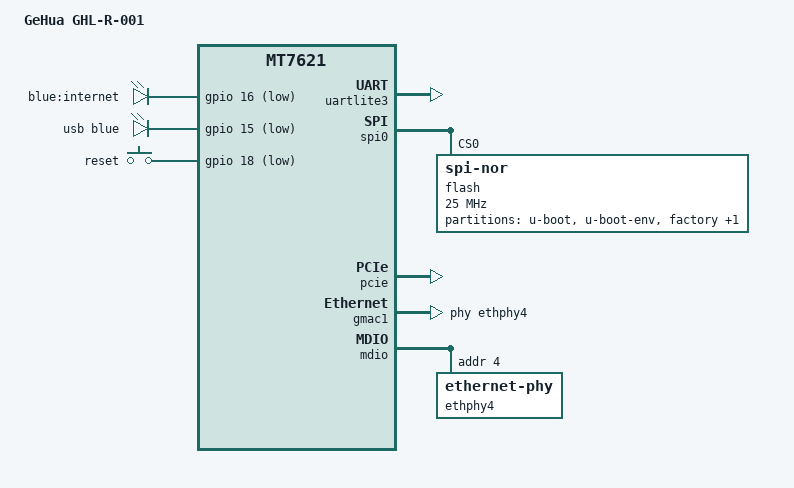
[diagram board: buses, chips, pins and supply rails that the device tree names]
// SPDX-License-Identifier: GPL-2.0-or-later OR MIT

#include "mt7621.dtsi"

#include <dt-bindings/gpio/gpio.h>
#include <dt-bindings/input/input.h>
#include <dt-bindings/leds/common.h>

/ {
	compatible = "gehua,ghl-r-001", "mediatek,mt7621-soc";
	model = "GeHua GHL-R-001";

	leds {
		compatible = "gpio-leds";

		internet {
			label = "blue:internet";
			gpios = <&gpio 16 GPIO_ACTIVE_LOW>;
		};

		usb {
			function = LED_FUNCTION_USB;
			color = <LED_COLOR_ID_BLUE>;
			gpios = <&gpio 15 GPIO_ACTIVE_LOW>;
			trigger-sources = <&xhci_ehci_port1>, <&ehci_port2>;
			linux,default-trigger = "usbport";
		};
	};

	keys {
		compatible = "gpio-keys";

		reset {
			label = "reset";
			gpios = <&gpio 18 GPIO_ACTIVE_LOW>;
			linux,code = <KEY_RESTART>;
		};
	};
};

&uartlite3 {
	status = "okay";
};

&spi0 {
	status = "okay";

	flash@0 {
		compatible = "jedec,spi-nor";
		reg = <0>;
		spi-max-frequency = <25000000>;
		broken-flash-reset;
		m25p,fast-read;

		partitions {
			compatible = "fixed-partitions";
			#address-cells = <1>;
			#size-cells = <1>;

			partition@0 {
				label = "u-boot";
				reg = <0x0 0x30000>;
				read-only;
			};

			partition@30000 {
				label = "u-boot-env";
				reg = <0x30000 0x10000>;
				read-only;
			};

			partition@40000 {
				label = "factory";
				reg = <0x40000 0x10000>;
				read-only;

				nvmem-layout {
					compatible = "fixed-layout";
					#address-cells = <1>;
					#size-cells = <1>;

					eeprom_factory_0: eeprom@0 {
						reg = <0x0 0x400>;
					};

					eeprom_factory_8000: eeprom@8000 {
						reg = <0x8000 0x200>;
					};

					macaddr_factory_e000: macaddr@e000 {
						compatible = "mac-base";
						reg = <0xe000 0x6>;
						#nvmem-cell-cells = <1>;
					};
				};
			};

			partition@50000 {
				compatible = "denx,uimage";
				label = "firmware";
				reg = <0x50000 0x1fb0000>;
			};
		};
	};
};

&pcie {
	status = "okay";
};

&pcie0 {
	wifi@0,0 {
		reg = <0x0000 0 0 0 0>;
		nvmem-cells = <&eeprom_factory_0>;
		nvmem-cell-names = "eeprom";
	};
};

&pcie1 {
	wifi@0,0 {
		reg = <0x0000 0 0 0 0>;
		nvmem-cells = <&eeprom_factory_8000>;
		nvmem-cell-names = "eeprom";
		ieee80211-freq-limit = <5000000 6000000>;

		led {
			led-sources = <2>;
			led-active-low;
		};
	};
};

&gmac0 {
	nvmem-cells = <&macaddr_factory_e000 0>;
	nvmem-cell-names = "mac-address";
};

&gmac1 {
	status = "okay";
	label = "wan";
	phy-handle = <&ethphy4>;

	nvmem-cells = <&macaddr_factory_e000 1>;
	nvmem-cell-names = "mac-address";
};

&mdio {
	ethphy4: ethernet-phy@4 {
		reg = <4>;
	};
};

&switch0 {
	ports {
		port@0 {
			status = "okay";
			label = "lan1";
		};

		port@1 {
			status = "okay";
			label = "lan2";
		};

		port@2 {
			status = "okay";
			label = "lan3";
		};
	};
};

&state_default {
	gpio {
		groups = "jtag", "wdt";
		function = "gpio";
	};
};
